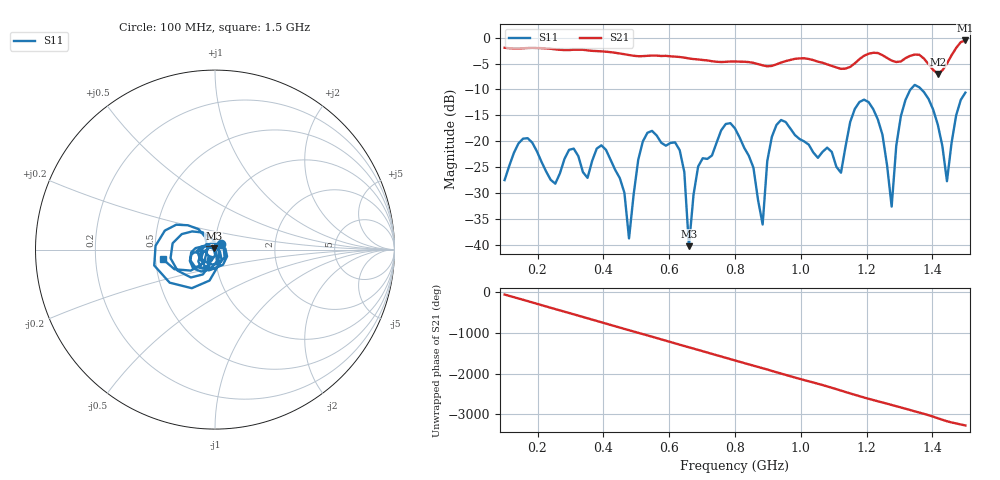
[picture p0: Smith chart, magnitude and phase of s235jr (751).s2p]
! NanoVNA-App
! Date: 2025-09-25 15:10:01
! Start: 100MHz Stop: 1,5GHz Points: 101
! S-Parameter data: F S11 S21 S12 S22
# Hz S RI R 50
!  Frequency  S11_Real  S11_Imag  S21_Real  S21_Imag  S12_Real  S12_Imag  S22_Real  S22_Imag
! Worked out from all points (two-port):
!   101 points, 100 MHz to 1.5 GHz, reference 50 ohm
!   highest |S21| = -0.55 dB at 1.5 GHz (marker M1); lowest = -7.0 dB at 1.416 GHz (marker M2)
!   |S21| within 3 dB of the highest: start of sweep to 500.5 MHz; 524.5 MHz to 595.1 MHz (70.56 MHz wide, 12.6 % of centre) (the widest 2 of 5)
!   lowest |S11| = -40.2 dB at 660 MHz (marker M3), VSWR 1.02, Z = 49.3 + j0.634 ohm
!   |S11| at or under -10 dB: start of sweep to 1.333 GHz; 1.366 GHz to end of sweep
!   S12 and S22 are empty: the file has one direction only
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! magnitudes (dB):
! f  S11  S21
! 100 MHz  -27.5  -2.0
! 170 MHz  -19.4  -2.0
! 338 MHz  -25.9  -2.4
! 408 MHz  -21.6  -2.7
! 478 MHz  -38.7  -3.4
! 520 MHz  -20.0  -3.6
! 576 MHz  -20.3  -3.5
! 632 MHz  -21.7  -3.7
! 660 MHz  -40.2  -4.0
! 688 MHz  -24.8  -4.2
! 800 MHz  -17.5  -4.6
! 884 MHz  -36.0  -5.3
! 926 MHz  -16.8  -5.2
! 1.038 GHz  -22.2  -4.3
! 1.122 GHz  -26.0  -6.0
! 1.206 GHz  -12.4  -3.1
! 1.276 GHz  -32.6  -4.4
! 1.304 GHz  -15.1  -4.6
! 1.332 GHz  -10.1  -3.5
! 1.416 GHz  -16.7  -7.0
! 1.444 GHz  -27.7  -5.0
! 1.5 GHz  -10.6  -0.6
